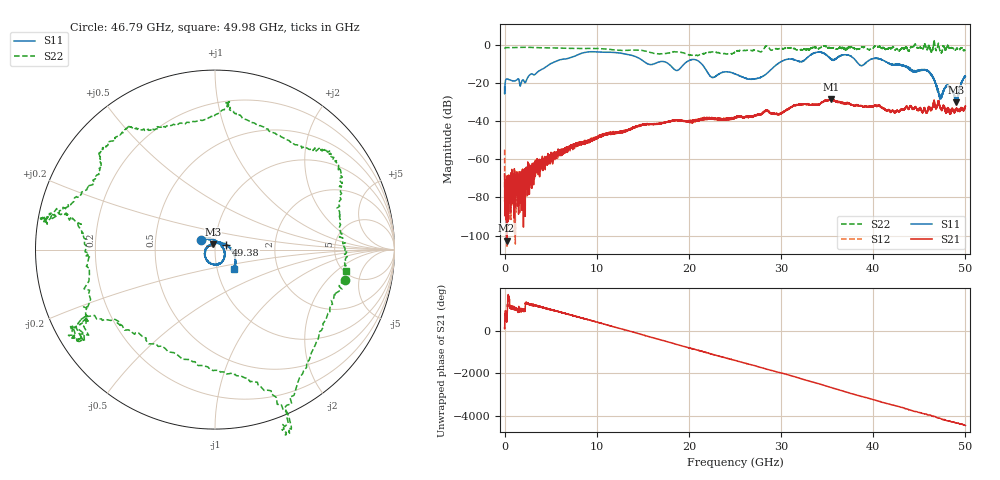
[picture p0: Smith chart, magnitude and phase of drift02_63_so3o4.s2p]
!Created with skrf (http://scikit-rf.org).
# Hz S RI R 50.0
!freq ReS11 ImS11 ReS21 ImS21 ReS12 ImS12 ReS22 ImS22
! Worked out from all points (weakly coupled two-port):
!   10001 points, 300 kHz to 50 GHz, reference 50 ohm
!   highest |S21| = -28.52 dB at 35.39 GHz (marker M1); lowest = -102.6 dB at 215.3 MHz (marker M2)
!   lowest |S11| = -30.2 dB at 49.03 GHz (marker M3), VSWR 1.06, Z = 48.8 + j2.82 ohm
!   |S11| at or under -10 dB: start of sweep to 4.957 GHz; 21.38 GHz to 29.63 GHz (8.249 GHz wide, 32.3 % of centre); 41.83 GHz to end of sweep (the widest 3 of 11)
!   |S22| runs from -5.7 to 2.3 dB; largest |S21 - S12| = 0.0041
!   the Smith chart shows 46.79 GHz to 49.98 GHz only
!   S11 on the Smith chart (normalised r, x): 46.79 GHz: 0.85, +0.09; 49.38 GHz: 1.13, +0.06; 49.98 GHz: 1.20, -0.26
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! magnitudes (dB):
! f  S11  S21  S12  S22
! 300 kHz  -22.2  -67.6  -55.0  -2.1
! 215.3 MHz  -17.9  -102.6  -85.7  -1.4
! 1.875 GHz  -19.0  -69.1  -85.6  -1.3
! 3.615 GHz  -14.1  -63.6  -63.7  -1.5
! 8.335 GHz  -4.5  -52.0  -51.6  -1.9
! 16.67 GHz  -9.1  -41.4  -41.3  -4.7
! 18.7 GHz  -13.5  -39.5  -39.4  -3.7
! 20.6 GHz  -7.7  -40.3  -40.0  -5.7
! 22.51 GHz  -17.1  -38.1  -38.8  -3.7
! 25 GHz  -15.3  -38.4  -38.3  -3.9
! 27.47 GHz  -17.6  -36.7  -36.7  -3.2
! 33.34 GHz  -4.9  -31.3  -31.3  -1.5
! 35.39 GHz  -7.4  -28.5  -28.6  -1.5
! 41.67 GHz  -9.7  -34.2  -34.2  -1.9
! 45.79 GHz  -13.6  -35.6  -35.7  -2.3
! 46.79 GHz  -20.3  -33.0  -32.8  -2.6
! 47.28 GHz  -27.3  -33.0  -33.2  -3.3
! 48.11 GHz  -21.4  -33.3  -33.2  -0.6
! 49.03 GHz  -30.2  -33.8  -33.9  -1.9
! 49.38 GHz  -23.2  -34.9  -34.1  -2.6
! 49.98 GHz  -16.5  -32.9  -32.3  -2.6
! 50 GHz  -16.6  -32.1  -33.0  -2.8
